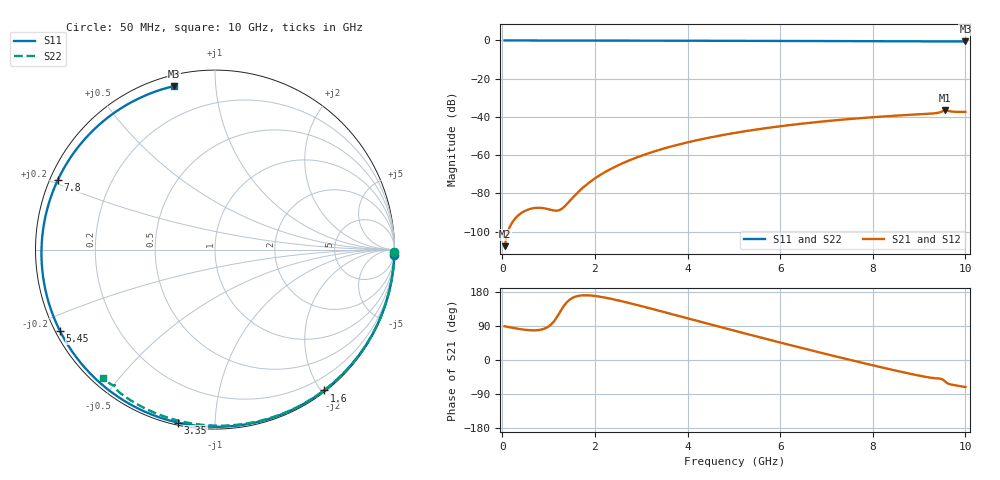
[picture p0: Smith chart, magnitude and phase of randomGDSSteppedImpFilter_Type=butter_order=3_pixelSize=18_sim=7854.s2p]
! freq	dB(S11)	phase(S11)	dB(S12)	phase(S12)
!  dB(S21)	phase(S21)	dB(S22)	phase(S22)
!S-par simulation data
#  GHz  S  DB  R 50
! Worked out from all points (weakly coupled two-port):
!   200 points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, 50 MHz to 10 GHz, reference 50 ohm
!   highest |S21| = -36.59 dB at 9.55 GHz (marker M1); lowest = -107.6 dB at 50 MHz (marker M2)
!   lowest |S11| = -0.5 dB at 10 GHz (marker M3), VSWR 31.87, Z = 2.52 + j38.9 ohm
!   |S11| at or under -10 dB: nowhere
!   |S22| runs from -0.5 to 0.0 dB; largest |S21 - S12| = 0
!   S11 on the Smith chart (normalised r, x): 50 MHz: 0, -67; 1.6 GHz: 0.02, -2.04; 3.35 GHz: 0.01, -0.81; 5.45 GHz: 0.01, -0.25; 7.8 GHz: 0.02, +0.21; 10 GHz: 0.05, +0.78
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0.05  -0.00 -1.7  -107.62 89.0  -107.62 89.0  -0.00 -0.8
0.4  -0.02 -13.4  -90.44 81.2  -90.44 81.2  -0.01 -6.1
0.75  -0.03 -25.0  -87.54 78.5  -87.54 78.5  -0.01 -11.3
1.2  -0.05 -39.6  -89.00 117.2  -89.00 117.2  -0.02 -18.0
1.6  -0.06 -52.2  -80.26 168.0  -80.26 168.0  -0.03 -24.0
1.75  -0.07 -56.8  -76.84 170.7  -76.84 170.7  -0.03 -26.2
2.05  -0.08 -65.9  -71.37 168.2  -71.37 168.2  -0.04 -30.6
2.4  -0.09 -76.1  -66.52 160.1  -66.52 160.1  -0.05 -35.6
2.85  -0.11 -88.7  -61.71 147.0  -61.71 147.0  -0.05 -42.1
3.35  -0.12 -102.1  -57.54 131.2  -57.54 131.2  -0.07 -49.2
3.4  -0.13 -103.4  -57.18 129.6  -57.18 129.6  -0.07 -49.8
4.25  -0.16 -124.7  -51.94 101.9  -51.94 101.9  -0.09 -61.5
5.05  -0.20 -143.4  -48.25 76.1  -48.25 76.1  -0.11 -72.2
5.45  -0.22 -152.4  -46.72 63.4  -46.72 63.4  -0.12 -77.3
6.05  -0.25 -165.7  -44.74 44.5  -44.74 44.5  -0.15 -85.0
6.7  -0.29 -179.9  -42.92 24.5  -42.92 24.5  -0.18 -93.0
7.25  -0.33 168.1  -41.63 8.0  -41.63 8.0  -0.21 -99.7
7.8  -0.37 155.9  -40.51 -8.2  -40.51 -8.2  -0.25 -106.2
8.35  -0.42 143.6  -39.57 -23.9  -39.57 -23.9  -0.29 -112.6
9.35  -0.50 120.1  -38.08 -48.2  -38.08 -48.2  -0.39 -124.4
9.55  -0.51 115.3  -36.59 -55.3  -36.59 -55.3  -0.55 -126.4
10  -0.55 104.2  -37.34 -71.4  -37.34 -71.4  -0.46 -131.1
